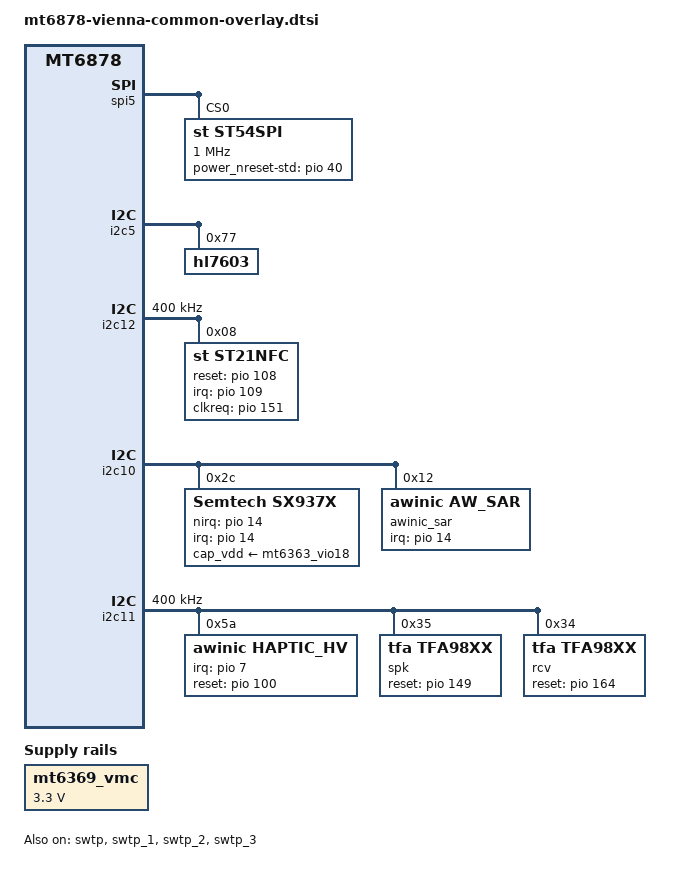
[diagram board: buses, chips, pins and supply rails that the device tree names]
/* Copyright (c) 2023, Motorola Mobility Inc. All rights reserved.
 *
 * This program is free software; you can redistribute it and/or modify
 * it under the terms of the GNU General Public License version 2 and
 * only version 2 as published by the Free Software Foundation.
 *
 * This program is distributed in the hope that it will be useful,
 * but WITHOUT ANY WARRANTY; without even the implied warranty of
 * MERCHANTABILITY or FITNESS FOR A PARTICULAR PURPOSE.  See the
 * GNU General Public License for more details.
 */

#include "mediatek/mt6878-moto-common-overlay-single-panel.dtsi"

#include "mediatek/aito-wl2864c.dtsi"
#include "mediatek/cust_vienna_camera_v4l2.dtsi"
#include "mediatek/vienna-charger.dtsi"
#include "mediatek/vienna-fps.dtsi"
#include "mediatek/vienna-ntc.dtsi"
#include "mediatek/vienna-display.dtsi"
#include "mediatek/aito-touch.dtsi"

&pio {
	nfc_spi_cs_mode_spi: nfc_spi_cs_mode_spi {
		pins_cmd_dat {
			pinmux = <PINMUX_GPIO73__FUNC_SPI5_CSB>;
			bias-disable;
		};
	};

	nfc_spi_cs_mode_idle: nfc_spi_cs_mode_idle {
		pins_cmd_dat {
			pinmux = <PINMUX_GPIO73__FUNC_GPIO73>;
			bias-disable;
		};
	};

	sar_int_default: sar_int_default {
		pins_cmd_dat {
			pinmux = <PINMUX_GPIO14__FUNC_GPIO14>;
			input-enable;
			drive-strength = <2>;
			bias-pull-up;
		};
	};

	sar_int_sleep: sar_int_sleep {
		pins_cmd_dat {
			pinmux = <PINMUX_GPIO14__FUNC_GPIO14>;
			input-enable;
			drive-strength = <2>;
			bias-pull-up;
		};
	};

};


&spi5 {
	st54spi: st54spi@0 {
		compatible = "st,st54spi";
		reg = <0>;
		spi-max-frequency = <1000000>;
		gpio-power_nreset = <40>;
		gpio-power_nreset-std = <&pio 40 0x00>;
		power_mode = "ST54J";
		bootmode = <&chosen>;
		pinctrl-names = "pinctrl_state_mode_spi",
				"pinctrl_state_mode_idle";
		pinctrl-0 = <&nfc_spi_cs_mode_spi>;
		pinctrl-1 = <&nfc_spi_cs_mode_idle>;
		status = "okay";
	};
};

&u2port0{
	mediatek,eye-vrt = <7>;
	mediatek,eye-term = <7>;
	mediatek,rev6 = <3>;
};

/* BOB */
&i2c5 {
	hl7603@77 {
		status = "ok";
		compatible = "hl7603";
		reg = <0x77>;
		/* hl7603_vout_voltage = <0x0B>; //3.4v */
	};
};

&i2c12 {
	status = "okay";
	clock-frequency = <400000>;
	st21nfc: st21nfc@08 {
		compatible = "st,st21nfc";
		reg = <0x08>;
		interrupt-parent = <&pio>;
		interrupts = <109  0>;
		bootmode = <&chosen>;
		reset-gpios = <&pio 108 0x0>;
		irq-gpios = <&pio 109 0x0>;
		clkreq-gpios = <&pio 151 0x0>;
		status = "okay";
	};
};

&rt5133 {
	status = "disabled";
};

//for alsps sensor
&mt6369_vmc {
	regulator-min-microvolt = <3300000>;
	regulator-max-microvolt = <3300000>;
	regulator-always-on;
};


&i2c10 {
	status = "ok";
	sx937x@2c { /* SAR sensor */
		compatible = "Semtech,sx937x";
		reg = <0x2c>;
		Semtech,power-supply-type = <0>;
		cap_vdd-supply = <&mt6363_vio18>;
		pinctrl-names = "default","sleep";
		pinctrl-0 = <&sar_int_default>;
		pinctrl-1 = <&sar_int_sleep>;
		interrupt-parent = <&pio>;
		interrupts = <14 0x02>;
		interrupt-names = "capsense0_irq";
		Semtech,nirq-gpio= <&pio 14 0x02>;
		/*use PH5/6 as the reference sensor
		set it to 0xff if the ref-phases-x is not used*/
		Semtech,ref-phases-a = <5>;
		Semtech,ref-phases-b = <6>;
		Semtech,ref-phases-c = <0xff>;
		Semtech,button-flag = <0x1f>;
		Semtech,reg-num = <61>;
		Semtech,reg-init = <
			0x8024 0x7F7F
			0x4004 0x74
			0x4008 0x8
			0x8020 0x32
			0x8028 0x85E
			0x8034 0x85E
			0x8040 0x85E
			0x804C 0x85E
			0x8058 0x85E
			0x8064 0x85E
			0x8070 0x85E
			0x807C 0x85E
			0x8030 0x924925
			0x803C 0x924964
			0x8048 0x925924
			0x8054 0x92C924
			0x8060 0xB24924
			0x806C 0x92492C
			0x8078 0x964924
			0x8084 0xFFF9FF
			0x8098 0x472D
			0x80B8 0x472D
			0x80D8 0x472D
			0x80F8 0x472D
			0x8118 0x472D
			0x8138 0xFF
			0x8158 0xFF
			0x8178 0xFF
			0x80A0 0x20200001
			0x80C0 0x20200001
			0x80E0 0x00
			0x8100 0x20200002
			0x8120 0x20200002
			0x8188 0x8000015
			0x818C 0x8000016
			0x8190 0x00
			0x8194 0x00
			0x8090 0x5000
			0x80B0 0x5000
			0x80D0 0x5000
			0x80F0 0x5000
			0x8110 0x5000
			0x8130 0x5000
			0x8150 0x5000
			0x8170 0x5000
			0x8088 0x300000
			0x80A8 0x300000
			0x80C8 0x300000
			0x80E8 0x300000
			0x8108 0x300000
			0x8128 0x6300000
			0x8148 0x6300000
			0x8168 0x6300000
			0x808C 0x602000C0
			0x80AC 0x602000C0
			0x80CC 0x602000C0
			0x80EC 0x602000C0
			0x810C 0x602000C0
			0x812C 0x60200030
			0x814C 0x60200030
			0x816C 0x60200030
		>;
		status = "okay";
	};
	awinic_sar:awinic_sar@12 {
			/* common node */
			compatible = "awinic,aw_sar";
			reg = < 0x12 >;
			sar-num = < 0 >;
			pinctrl-names = "default","sleep";
			pinctrl-0 = <&sar_int_default>;
			pinctrl-1 = <&sar_int_sleep>;
			interrupt-parent = <&pio>;
			interrupts = <14 0x02>;
			interrupt-names = "awinic_irq";
			irq-gpio = <&pio 14 0x02>;
			//vcc0-supply = <&mt6363_vio18>;
			channel_use_flag = <0x1f>;
			aw_sar,use_plug_cail;
			aw_sar,update_fw;
			aw_sar,using_pm_ops;
			/* private node belongs to aw963xx */
			start-mode = < 1 >; // 0: start in rom  1: start in ram
			irq-mux = < 2 >; // set csx as irq pin. config this field when connect to aw96308/aw96310
			status = "okay";
	};
};

&i2c11 {
	clock-frequency = <400000>;
	status = "okay";
	haptic_hv@5A {
		status = "okay";
		compatible = "awinic,haptic_hv";
		reg = <0x5A>;
		irq-gpio = <&pio 7 0>;
		reset-gpio = <&pio 100 0>;
		//pinctrl-names = "irq_active";
		//pinctrl-0 = <&gpio1_input_pull_up>;
		f0_pre = < 1700 >;
		mode = /bits/ 8 < 5 >;

		aw8692x_f0_cali_percent = /bits/ 8 < 7 >;
		aw8692x_gain_bypass = /bits/ 8 < 1 >;
		aw8692x_cont_drv1_lvl = /bits/ 8 < 0x7F >;
		aw8692x_cont_lra_vrms = < 1500 >;
		aw8692x_cont_drv1_time = /bits/ 8 < 0x04 >;
		aw8692x_cont_drv2_time = /bits/ 8 < 0x66 >;
		aw8692x_cont_track_margin = /bits/ 8 < 0x0F >;
		aw8692x_cont_brk_gain = /bits/ 8 < 0x08 >;
		aw8692x_cont_brk_time = /bits/ 8 < 0x08 >;
		aw8692x_duration_time = /bits/ 8 < 34 67 101 >;
		aw8692x_d2s_gain = /bits/ 8 < 0x04 >;
		aw8692x_trig_config = /bits/ 8 < 0 0 0 1 0 2 0 0
						 0 0 0 1 0 2 0 0
						 0 0 0 1 0 2 0 0 >;
		aw8692x_bst_vol_default = < 8500 >;
		aw8692x_is_enabled_track_en;
		/* aw8692x_is_enabled_auto_bst; */
		/* aw8692x_is_enabled_one_wire; */
	};
};

&regulator_vibrator {
	status = "disabled";
};

&mmc1 {
	status = "disabled";
};

&i2c11 {
	status = "okay";
	clock-frequency = <400000>;

	spk: tfa98xx@35 {
		compatible = "tfa,tfa98xx";
		#address-cells = <1>;
		#size-cells = <0>;
		#sound-dai-cells = <0>;
		reg = <0x35>;
		reset-gpio= <&pio 149 0>;
		reset-polarity=<0>;
		status = "okay";
	};

	rcv: tfa98xx@34 {
		compatible = "tfa,tfa98xx";
		#address-cells = <1>;
		#size-cells = <0>;
		#sound-dai-cells = <0>;
		reg = <0x34>;
		reset-gpio= <&pio 164 0>;
		reset-polarity=<0>;
		status = "okay";
	};
};

&sound {
	mediatek,spk-i2s = <25 24>;
	mediatek,speaker-codec {
		sound-dai = <&spk &rcv>;
	};
};

&afe {
	mediatek,ap-dmic = <1>;
};

&swtp {
	interrupt-parent = <&pio>;
	interrupts = <101 IRQ_TYPE_LEVEL_HIGH 101 0>;
	deb-gpios = <&pio 101 0>;
	debounce = <512>;
	status = "okay";
};

&swtp_1 {
	interrupt-parent = <&pio>;
	interrupts = <102 IRQ_TYPE_LEVEL_HIGH 102 0>;
	deb-gpios = <&pio 102 0>;
	debounce = <512>;
	status = "okay";
};
&swtp_2 {
	interrupt-parent = <&pio>;
	interrupts = <103 IRQ_TYPE_LEVEL_HIGH 103 0>;
	deb-gpios = <&pio 103 0>;
	debounce = <512>;
	status = "okay";
};
&swtp_3 {
	interrupt-parent = <&pio>;
	interrupts = <104 IRQ_TYPE_LEVEL_HIGH 104 0>;
	deb-gpios = <&pio 104 0>;
	debounce = <512>;
	status = "okay";
};

&therm_intf {
	/*Vsensor name should be CASE DIFFERENT with the name in config file*/
	mmi,temperature-names = "BACK_TEMP", "FRONT_TEMP";/*for "back_temp" in config file*/
};

&consys {
	/* GPIO92: HWID_3. GPIO 131 and 132 are CONSYS_ID1/CONSYS_ID2 on the reference schematlc but on Vienna they are used for SCL3/SDA3 */
	hwid-node= <92>;
	adie-sku = <0 1>; /* mt6637 = 0, mt6631 = 1*/
};
